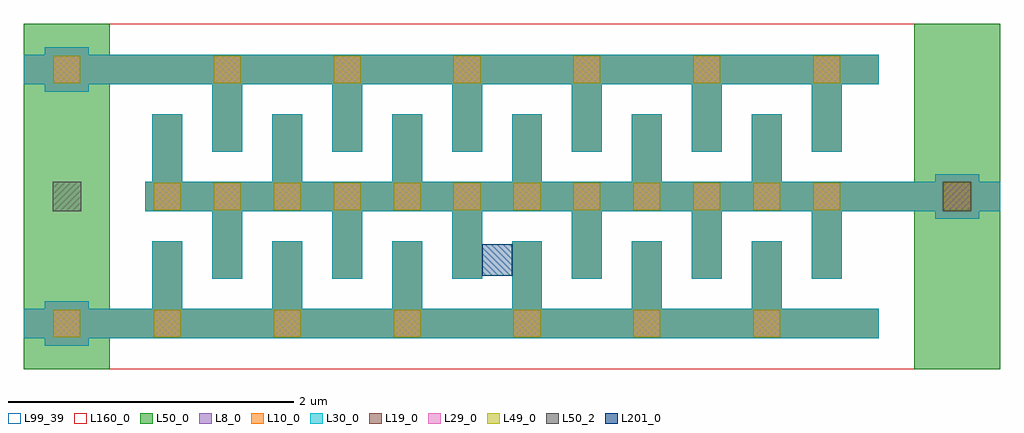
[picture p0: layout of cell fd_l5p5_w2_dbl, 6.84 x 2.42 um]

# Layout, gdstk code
import gdstk
lib = gdstk.Library(unit=1e-6, precision=1e-09)
def R(c, l, rs):  # rectangles x0, y0, x1, y1
    for r in rs: c.add(gdstk.rectangle(r[:2], r[2:], *l))
def A(c, l, x, y, w, h, nx, ny, dx, dy):  # array of equal rectangles
    R(c, l, [(x+i*dx, y+j*dy, x+i*dx+w, y+j*dy+h) for i in range(nx) for j in range(ny)])
L8_0 = (8, 0)
L10_0 = (10, 0)
L19_0 = (19, 0)
L29_0 = (29, 0)
L30_0 = (30, 0)
L49_0 = (49, 0)
L50_0 = (50, 0)
L50_2 = (50, 2)
L99_39 = (99, 39)
L160_0 = (160, 0)
L201_0 = (201, 0)

fd_l5p5_w2_dbl = lib.new_cell('fd_l5p5_w2_dbl')
A(fd_l5p5_w2_dbl, L8_0, 0, 0, 0.21, 0.575, 6, 2, 0.84, 0.89)
A(fd_l5p5_w2_dbl, L8_0, 0.42, 0.315, 0.21, 0.575, 6, 2, 0.84, 0.89)
R(fd_l5p5_w2_dbl, L8_0, [(-0.755,-0.155,-0.445,0.155), (-0.9,-0.105,5.09,0.105), (5.485,0.735,5.795,1.045), (-0.05,0.785,5.94,0.995), (-0.755,1.625,-0.445,1.935), (-0.9,1.675,5.09,1.885)])
A(fd_l5p5_w2_dbl, L10_0, 0, 0, 0.21, 0.575, 6, 2, 0.84, 0.89)
A(fd_l5p5_w2_dbl, L10_0, 0.42, 0.315, 0.21, 0.575, 6, 2, 0.84, 0.89)
R(fd_l5p5_w2_dbl, L10_0, [(-0.755,-0.155,-0.445,0.155), (-0.9,-0.105,5.09,0.105), (5.485,0.735,5.795,1.045), (-0.05,0.785,5.94,0.995), (-0.755,1.625,-0.445,1.935), (-0.9,1.675,5.09,1.885)])
A(fd_l5p5_w2_dbl, L19_0, 0.01, -0.095, 0.19, 0.19, 6, 1, 0.84, 0)
A(fd_l5p5_w2_dbl, L19_0, 0.01, 0.795, 0.19, 0.19, 12, 1, 0.42, 0)
A(fd_l5p5_w2_dbl, L19_0, 0.43, 1.685, 0.19, 0.19, 6, 1, 0.84, 0)
R(fd_l5p5_w2_dbl, L19_0, [(-0.695,-0.095,-0.505,0.095), (5.545,0.795,5.735,0.985), (-0.695,1.685,-0.505,1.875)])
A(fd_l5p5_w2_dbl, L29_0, 0.01, -0.095, 0.19, 0.19, 6, 1, 0.84, 0)
A(fd_l5p5_w2_dbl, L29_0, 0.01, 0.795, 0.19, 0.19, 12, 1, 0.42, 0)
A(fd_l5p5_w2_dbl, L29_0, 0.43, 1.685, 0.19, 0.19, 6, 1, 0.84, 0)
R(fd_l5p5_w2_dbl, L29_0, [(-0.695,-0.095,-0.505,0.095), (5.545,0.795,5.735,0.985), (-0.695,1.685,-0.505,1.875)])
A(fd_l5p5_w2_dbl, L30_0, 0, 0, 0.21, 0.575, 6, 2, 0.84, 0.89)
A(fd_l5p5_w2_dbl, L30_0, 0.42, 0.315, 0.21, 0.575, 6, 2, 0.84, 0.89)
R(fd_l5p5_w2_dbl, L30_0, [(-0.755,-0.155,-0.445,0.155), (-0.9,-0.105,5.09,0.105), (5.485,0.735,5.795,1.045), (-0.05,0.785,5.94,0.995), (-0.755,1.625,-0.445,1.935), (-0.9,1.675,5.09,1.885)])
A(fd_l5p5_w2_dbl, L49_0, 0.01, -0.095, 0.19, 0.19, 6, 1, 0.84, 0)
A(fd_l5p5_w2_dbl, L49_0, 0.01, 0.795, 0.19, 0.19, 12, 1, 0.42, 0)
A(fd_l5p5_w2_dbl, L49_0, 0.43, 1.685, 0.19, 0.19, 6, 1, 0.84, 0)
R(fd_l5p5_w2_dbl, L49_0, [(-0.695,-0.095,-0.505,0.095), (5.545,0.795,5.735,0.985), (-0.695,1.685,-0.505,1.875)])
A(fd_l5p5_w2_dbl, L50_0, 0, 0, 0.21, 0.575, 6, 2, 0.84, 0.89)
A(fd_l5p5_w2_dbl, L50_0, 0.42, 0.315, 0.21, 0.575, 6, 2, 0.84, 0.89)
R(fd_l5p5_w2_dbl, L50_0, [(-0.9,-0.32,-0.3,2.1), (5.34,-0.32,5.94,2.1), (-0.9,-0.105,5.09,0.105), (-0.05,0.785,5.94,0.995), (-0.9,1.675,5.09,1.885)])
R(fd_l5p5_w2_dbl, L50_2, [(-0.7,0.785,-0.5,0.995), (5.54,0.785,5.74,0.995)])
R(fd_l5p5_w2_dbl, L99_39, [(-0.9,-0.32,5.94,2.1)])
R(fd_l5p5_w2_dbl, L160_0, [(-0.9,-0.32,5.94,2.1)])
R(fd_l5p5_w2_dbl, L201_0, [(2.31,0.335,2.52,0.555)])
fd_l5p5_w2_dbl.add(gdstk.Label('cap_cmomi C=9.779fF', (-0.9,-0.82), layer=63, texttype=0))

lib.write_gds('fd_l5p5_w2_dbl.gds')
